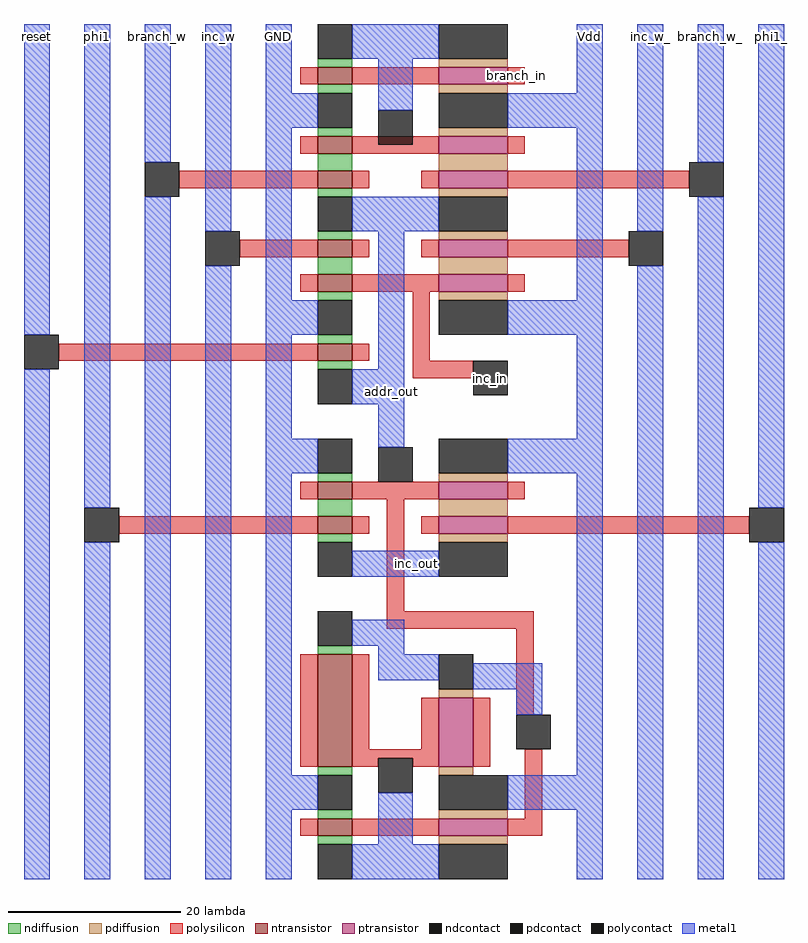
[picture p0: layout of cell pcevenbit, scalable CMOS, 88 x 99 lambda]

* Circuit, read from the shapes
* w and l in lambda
.subckt pcevenbit GND Vdd addr_out branch_in branch_w branch_w_ inc_in inc_out inc_w inc_w_ phi1 phi1_ reset
M1 GND addr_out staticizer_0/inverter_0/out VSUBS nfet w=4 l=2
M2 addr_out staticizer_0/inverter_0/out GND VSUBS nfet w=4 l=13
M3 n1 phi1 inc_out VSUBS nfet w=4 l=2
M4 GND addr_out n1 VSUBS nfet w=4 l=2
M5 GND reset addr_out VSUBS nfet w=4 l=2
M6 n2 inc_in GND VSUBS nfet w=4 l=2
M7 addr_out inc_w n2 VSUBS nfet w=4 l=2
M8 n3 branch_w addr_out VSUBS nfet w=4 l=2
M9 GND latch_0/in n3 VSUBS nfet w=4 l=2
M10 latch_0/in branch_in GND VSUBS nfet w=4 l=2
M11 Vdd addr_out staticizer_0/inverter_0/out NWELL pfet w=8 l=2
M12 addr_out staticizer_0/inverter_0/out Vdd NWELL pfet w=4 l=8
M13 n4 phi1_ inc_out NWELL pfet w=8 l=2
M14 Vdd addr_out n4 NWELL pfet w=8 l=2
M15 n5 inc_in Vdd NWELL pfet w=8 l=2
M16 addr_out inc_w_ n5 NWELL pfet w=8 l=2
M17 n6 branch_w_ addr_out NWELL pfet w=8 l=2
M18 Vdd latch_0/in n6 NWELL pfet w=8 l=2
M19 latch_0/in branch_in Vdd NWELL pfet w=8 l=2
.ends

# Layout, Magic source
magic
tech scmos
<< polysilicon >>
rect 23 17 25 19
rect -15 5 -1 7
rect 25 5 44 7
rect -8 -3 -1 -1
rect 25 -3 37 -1
rect -29 -15 1 -13
rect 5 -15 7 -13
rect 12 -15 14 -5
rect 12 -17 19 -15
rect -22 -35 -1 -33
rect 9 -44 11 -31
rect 25 -35 51 -33
rect 9 -46 26 -44
rect 24 -56 26 -46
<< ndiffusion >>
rect 1 -13 5 -12
rect 1 -16 5 -15
<< metal1 >>
rect -33 -12 -30 24
rect -33 -75 -30 -16
rect -26 -32 -23 24
rect -19 8 -16 24
rect -26 -75 -23 -36
rect -19 -75 -16 4
rect -12 0 -9 24
rect -5 16 -2 24
rect -5 12 1 16
rect 8 14 12 20
rect 31 16 34 24
rect -12 -75 -9 -4
rect -5 -8 -2 12
rect 23 12 34 16
rect -5 -12 1 -8
rect -5 -24 -2 -12
rect 8 -16 11 2
rect 31 -8 34 12
rect 38 0 41 24
rect 45 8 48 24
rect 23 -12 34 -8
rect 5 -20 11 -16
rect -5 -28 1 -24
rect 8 -25 11 -20
rect 31 -24 34 -12
rect -5 -63 -2 -28
rect 23 -28 34 -24
rect 11 -40 15 -37
rect 31 -63 34 -28
rect -5 -67 1 -63
rect 29 -67 34 -63
rect -5 -75 -2 -67
rect 31 -75 34 -67
rect 38 -75 41 -4
rect 45 -75 48 4
rect 52 -32 55 24
rect 52 -75 55 -36
<< ntransistor >>
rect 1 -15 5 -13
<< polycontact >>
rect 8 10 12 14
rect -19 4 -15 8
rect 44 4 48 8
rect -12 -4 -8 0
rect 37 -4 41 0
rect -33 -16 -29 -12
rect 19 -19 23 -15
rect 8 -29 12 -25
rect -26 -36 -22 -32
rect 51 -36 55 -32
<< ndcontact >>
rect 1 -12 5 -8
rect 1 -20 5 -16
use inverter  inverter_0
transform 0 1 -6 1 0 17
box -5 5 7 31
use latch  latch_0
transform 0 1 1 -1 0 10
box -6 -2 10 24
use latch  latch_1
transform 0 1 1 1 0 -6
box -6 -2 10 24
use latch  latch_2
transform 0 1 1 -1 0 -30
box -6 -2 10 24
use staticizer  staticizer_0
transform 0 1 -3 -1 0 -63
box -19 2 12 32
<< labels >>
rlabel polycontact 21 -17 21 -17 8 inc_in
rlabel metal1 11 -40 14 -37 1 inc_out
rlabel metal1 8 -20 11 -17 1 addr_out
rlabel metal1 -5 21 -2 24 5 GND
rlabel metal1 31 21 34 24 6 Vdd
rlabel polysilicon 24 18 24 18 1 branch_in
rlabel metal1 -12 21 -9 24 4 inc_w
rlabel metal1 38 21 41 24 5 inc_w_
rlabel metal1 45 21 48 24 5 branch_w_
rlabel metal1 -19 21 -16 24 5 branch_w
rlabel metal1 -26 21 -23 24 5 phi1
rlabel metal1 52 21 55 24 6 phi1_
rlabel metal1 -33 21 -30 24 4 reset
<< end >>

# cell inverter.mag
magic
tech scmos
<< polysilicon >>
rect 0 29 2 31
rect 0 11 2 21
rect 0 5 2 7
<< ndiffusion >>
rect -1 7 0 11
rect 2 7 3 11
<< pdiffusion >>
rect -1 21 0 29
rect 2 21 3 29
<< metal1 >>
rect 3 11 7 21
<< ntransistor >>
rect 0 7 2 11
<< ptransistor >>
rect 0 21 2 29
<< ndcontact >>
rect -5 7 -1 11
rect 3 7 7 11
<< pdcontact >>
rect -5 21 -1 29
rect 3 21 7 29
<< labels >>
rlabel metal1 5 16 5 16 7 out
<< end >>

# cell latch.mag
magic
tech scmos
<< polysilicon >>
rect -1 22 1 24
rect 3 22 5 24
rect -1 4 1 14
rect 3 12 5 14
rect 3 4 5 6
rect -1 -2 1 0
rect 3 -2 5 0
<< ndiffusion >>
rect -2 0 -1 4
rect 1 0 3 4
rect 5 0 6 4
<< pdiffusion >>
rect -2 14 -1 22
rect 1 14 3 22
rect 5 14 6 22
<< metal1 >>
rect 7 4 10 14
<< ntransistor >>
rect -1 0 1 4
rect 3 0 5 4
<< ptransistor >>
rect -1 14 1 22
rect 3 14 5 22
<< ndcontact >>
rect -6 0 -2 4
rect 6 0 10 4
<< pdcontact >>
rect -6 14 -2 22
rect 6 14 10 22
<< labels >>
rlabel polysilicon 3 22 5 24 5 latch_
rlabel polysilicon 3 -2 5 0 1 latch
rlabel pdcontact -6 14 -2 22 3 Vdd
rlabel ndcontact -6 0 -2 4 2 GND
rlabel polysilicon -1 8 1 10 1 in
rlabel metal1 7 8 10 10 7 out
<< end >>

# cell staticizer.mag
magic
tech scmos
<< polysilicon >>
rect -3 28 7 30
rect -9 22 -1 24
rect -9 16 -1 18
rect -3 15 -1 16
rect -3 11 -2 15
rect -3 10 -1 11
rect -14 8 -1 10
rect -14 2 -1 4
<< ndiffusion >>
rect -15 4 -14 8
rect -1 4 0 8
<< pdiffusion >>
rect -10 18 -9 22
rect -1 18 0 22
<< metal1 >>
rect -13 27 -7 30
rect -13 22 -10 27
rect 0 26 4 32
rect -14 14 -11 18
rect -18 11 -11 14
rect 2 11 12 15
rect -18 8 -15 11
<< ntransistor >>
rect -14 4 -1 8
<< ptransistor >>
rect -9 18 -1 22
<< polycontact >>
rect -7 27 -3 31
rect -2 11 2 15
<< ndcontact >>
rect -19 4 -15 8
rect 0 4 4 8
<< pdcontact >>
rect -14 18 -10 22
rect 0 18 4 26
use inverter  inverter_0
transform 1 0 5 0 1 -3
box -5 5 7 31
<< labels >>
rlabel metal1 0 28 4 32 5 Vdd
rlabel ndcontact 0 4 4 8 1 GND
rlabel polycontact -7 27 -3 31 5 in
<< end >>
